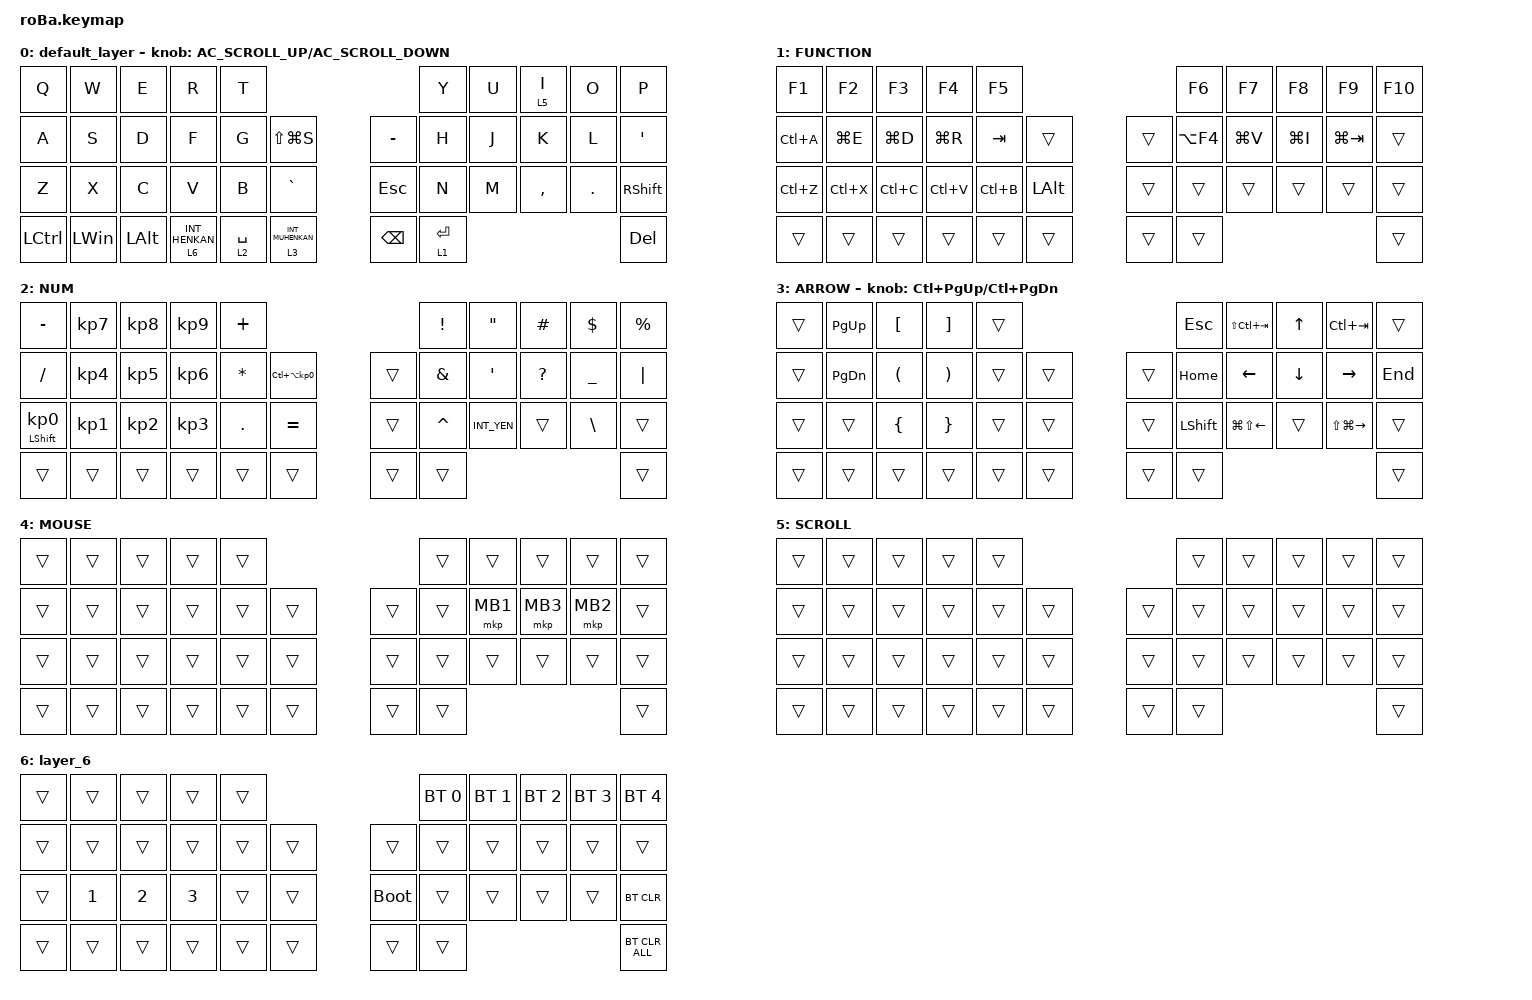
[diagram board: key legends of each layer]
#include <behaviors.dtsi>
#include <dt-bindings/zmk/bt.h>
#include <dt-bindings/zmk/keys.h>
#include <dt-bindings/zmk/pointing.h>

&mt {
    flavor = "balanced";
    quick-tap-ms = <0>;
};

&trackball {
    automouse-layer = <4>;
    scroll-layers = <5>;

    // arrows {
    //     layers = <3>;
    //     bindings =
    //         <&kp RIGHT_ARROW>,
    //         <&kp LEFT_ARROW>,
    //         <&kp UP_ARROW>,
    //         <&kp DOWN_ARROW>;
    //     tick = <10>;
    //     wait-ms = <5>;
    //     tap-ms = <5>;
    // };
};

/ {
    combos {
        compatible = "zmk,combos";

        tab {
            bindings = <&kp TAB>;
            key-positions = <11 12>;
        };

        shift_tab {
            bindings = <&kp LS(TAB)>;
            key-positions = <12 13>;
        };

        muhennkann {
            bindings = <&to_layer_0 INT_MUHENKAN>;
            key-positions = <11 10>;
        };

        double_quotation {
            bindings = <&kp DOUBLE_QUOTES>;
            key-positions = <20 21>;
        };

        eq {
            bindings = <&kp EQUAL>;
            key-positions = <24 25>;
        };
    };

    macros {
        to_layer_0: to_layer_0 {
            compatible = "zmk,behavior-macro-one-param";
            #binding-cells = <1>;
            bindings = <&to 0 &macro_param_1to1 &kp MACRO_PLACEHOLDER>;
            label = "TO_LAYER_0";
        };
    };

    behaviors {
        lt_to_layer_0: lt_to_layer_0 {
            compatible = "zmk,behavior-hold-tap";
            label = "LAYER_TAP_TO_0";
            bindings = <&mo>, <&to_layer_0>;

            #binding-cells = <2>;
            tapping-term-ms = <200>;
        };
    };

    keymap {
        compatible = "zmk,keymap";

        default_layer {
            bindings = <
&kp Q      &kp W         &kp E         &kp R                        &kp T                                                          &kp Y        &kp U  &lt 5 I    &kp O    &kp P
&kp A      &kp S         &kp D         &kp F                        &kp G        &kp LS(LG(S))                      &kp MINUS      &kp H        &kp J  &kp K      &kp L    &kp SQT
&kp Z      &kp X         &kp C         &kp V                        &kp B        &kp GRAVE                          &kp ESC        &kp N        &kp M  &kp COMMA  &kp DOT  &kp RIGHT_SHIFT
&kp LCTRL  &kp LEFT_WIN  &kp LEFT_ALT  &lt_to_layer_0 6 INT_HENKAN  &lt 2 SPACE  &lt_to_layer_0 3 INT_MUHENKAN      &kp BACKSPACE  &lt 1 ENTER                             &kp DEL
            >;

            sensor-bindings = <&inc_dec_kp C_AC_SCROLL_UP C_AC_SCROLL_DOWN>;
        };

        FUNCTION {
            bindings = <
&kp F1     &kp F2     &kp F3     &kp F4     &kp F5                           &kp F6      &kp F7     &kp F8     &kp F9       &kp F10
&kp LC(A)  &kp LG(E)  &kp LG(D)  &kp LG(R)  &kp TAB    &trans        &trans  &kp LA(F4)  &kp LG(V)  &kp LG(I)  &kp LG(TAB)  &trans
&kp LC(Z)  &kp LC(X)  &kp LC(C)  &kp LC(V)  &kp LC(B)  &kp LALT      &trans  &trans      &trans     &trans     &trans       &trans
&trans     &trans     &trans     &trans     &trans     &trans        &trans  &trans                                         &trans
            >;
        };

        NUM {
            bindings = <
&kp MINUS                   &kp KP_NUMBER_7  &kp KP_NUMBER_8  &kp KP_NUMBER_9  &kp PLUS                                           &kp EXCLAMATION  &kp DOUBLE_QUOTES  &kp HASH      &kp DOLLAR      &kp PERCENT
&kp SLASH                   &kp KP_NUMBER_4  &kp KP_NUMBER_5  &kp KP_NUMBER_6  &kp ASTERISK  &kp LC(LA(KP_NUMBER_0))      &trans  &kp AMPERSAND    &kp SQT            &kp QUESTION  &kp UNDERSCORE  &kp PIPE
&mt LEFT_SHIFT KP_NUMBER_0  &kp KP_NUMBER_1  &kp KP_NUMBER_2  &kp KP_NUMBER_3  &kp PERIOD    &kp EQUAL                    &trans  &kp CARET        &kp INT_YEN        &trans        &kp BACKSLASH   &trans
&trans                      &trans           &trans           &trans           &trans        &trans                       &trans  &trans                                                            &trans
            >;
        };

        ARROW {
            bindings = <
&trans  &kp PG_UP      &kp LEFT_BRACKET      &kp RIGHT_BRACKET      &trans                      &kp ESCAPE      &kp LS(LC(TAB))         &kp UP_ARROW    &kp LC(TAB)        &trans
&trans  &kp PAGE_DOWN  &kp LEFT_PARENTHESIS  &kp RIGHT_PARENTHESIS  &trans  &trans      &trans  &kp HOME        &kp LEFT_ARROW          &kp DOWN_ARROW  &kp RIGHT          &kp END
&trans  &trans         &kp LEFT_BRACE        &kp RIGHT_BRACE        &trans  &trans      &trans  &kp LEFT_SHIFT  &kp LG(LS(LEFT_ARROW))  &trans          &kp LS(LG(RIGHT))  &trans
&trans  &trans         &trans                &trans                 &trans  &trans      &trans  &trans                                                                     &trans
            >;

            sensor-bindings = <&inc_dec_kp LC(PAGE_UP) LC(PAGE_DOWN)>;
        };

        MOUSE {
            bindings = <
&trans  &trans  &trans  &trans  &trans                      &trans  &trans    &trans    &trans    &trans
&trans  &trans  &trans  &trans  &trans  &trans      &trans  &trans  &mkp MB1  &mkp MB3  &mkp MB2  &trans
&trans  &trans  &trans  &trans  &trans  &trans      &trans  &trans  &trans    &trans    &trans    &trans
&trans  &trans  &trans  &trans  &trans  &trans      &trans  &trans                                &trans
            >;
        };

        SCROLL {
            bindings = <
&trans  &trans  &trans  &trans  &trans                      &trans  &trans  &trans  &trans  &trans
&trans  &trans  &trans  &trans  &trans  &trans      &trans  &trans  &trans  &trans  &trans  &trans
&trans  &trans  &trans  &trans  &trans  &trans      &trans  &trans  &trans  &trans  &trans  &trans
&trans  &trans  &trans  &trans  &trans  &trans      &trans  &trans                          &trans
            >;
        };

        layer_6 {
            bindings = <
&trans  &trans        &trans        &trans        &trans                           &bt BT_SEL 0  &bt BT_SEL 1  &bt BT_SEL 2  &bt BT_SEL 3  &bt BT_SEL 4
&trans  &trans        &trans        &trans        &trans  &trans      &trans       &trans        &trans        &trans        &trans        &trans
&trans  &kp NUMBER_1  &kp NUMBER_2  &kp NUMBER_3  &trans  &trans      &bootloader  &trans        &trans        &trans        &trans        &bt BT_CLR
&trans  &trans        &trans        &trans        &trans  &trans      &trans       &trans                                                  &bt BT_CLR_ALL
            >;
        };
    };
};
